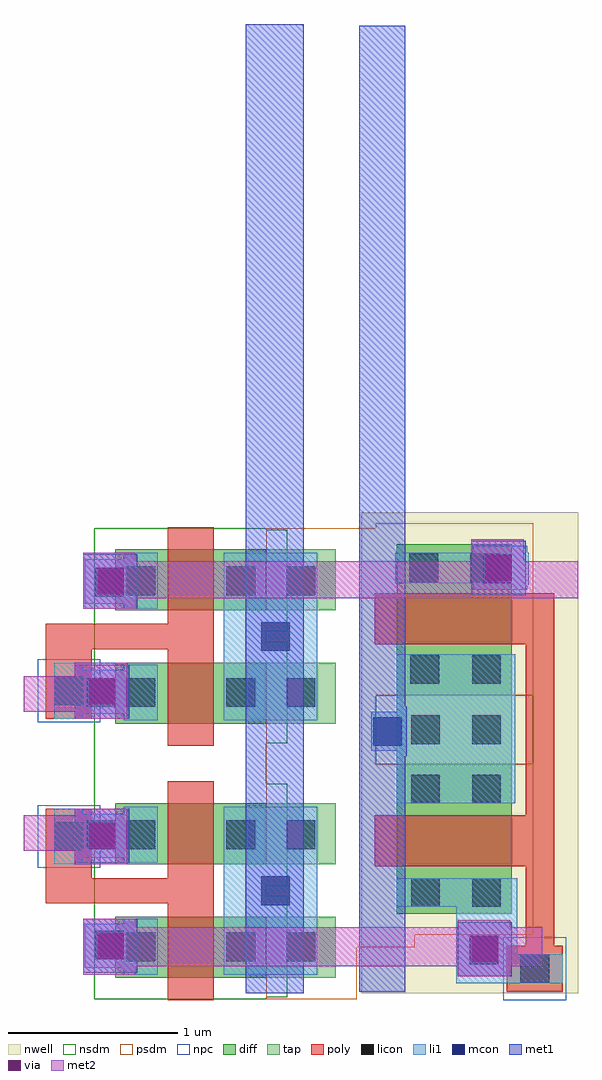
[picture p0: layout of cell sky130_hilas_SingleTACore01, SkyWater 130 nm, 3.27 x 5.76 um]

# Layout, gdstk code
from math import pi, radians
import gdstk
lib = gdstk.Library(unit=1e-6, precision=1e-09)
def R(c, l, rs):  # rectangles x0, y0, x1, y1
    for r in rs: c.add(gdstk.rectangle(r[:2], r[2:], *l))
nwell = (64, 20)
diff = (65, 20)
tap = (65, 44)
poly = (66, 20)
licon = (66, 44)
li1 = (67, 20)
mcon = (67, 44)
met1 = (68, 20)
via = (68, 44)
met2 = (69, 20)
nsdm = (93, 44)
psdm = (94, 20)
npc = (95, 20)

sky130_hilas_poly2li = lib.new_cell('sky130_hilas_poly2li')
R(sky130_hilas_poly2li, poly, [(-0.09,-0.14,0.18,0.19)])
R(sky130_hilas_poly2li, licon, [(-0.04,-0.06,0.13,0.11)])
R(sky130_hilas_poly2li, li1, [(-0.04,-0.14,0.13,0.19)])
R(sky130_hilas_poly2li, npc, [(-0.14,-0.16,0.23,0.21)])

sky130_hilas_pfetmirror0 = lib.new_cell('sky130_hilas_pFETmirror02')
R(sky130_hilas_pfetmirror0, nwell, [(-0.61,0.89,0.67,3.73)])
R(sky130_hilas_pfetmirror0, diff, [(-0.4,1.36,0.28,2.24), (-0.4,2.65,0.28,3.54)])
R(sky130_hilas_pfetmirror0, tap, [(-0.4,2.24,0.28,2.65)])
R(sky130_hilas_pfetmirror0, poly, [(0.36,1.12,0.53,1.64), (-0.53,1.64,0.53,1.94), (0.36,1.94,0.53,2.95), (-0.53,2.95,0.53,3.25)])
R(sky130_hilas_pfetmirror0, licon, [(-0.315,1.4,-0.145,1.57), (0.045,1.4,0.215,1.57), (-0.315,2.01,-0.145,2.18), (0.045,2.01,0.215,2.18), (-0.315,2.36,-0.145,2.53), (0.045,2.36,0.215,2.53), (-0.32,2.715,-0.15,2.885), (0.045,2.715,0.215,2.885), (-0.325,3.315,-0.155,3.485), (0.035,3.315,0.205,3.485)])
R(sky130_hilas_pfetmirror0, li1, [(-0.05,0.95,0.28,1.12), (-0.05,1.12,0.31,1.4), (-0.4,1.4,0.31,1.57), (-0.4,2.01,0.3,2.89), (-0.41,3.31,0.29,3.49)])
R(sky130_hilas_pfetmirror0, nsdm, [(-0.525,2.24,0.405,2.65)])
R(sky130_hilas_pfetmirror0, psdm, [(-0.525,1.235,0.405,2.24), (-0.525,2.65,0.405,3.665)])
sky130_hilas_pfetmirror0.add(gdstk.Reference(sky130_hilas_poly2li, (0.39,1.08), rotation=3*pi/2))

sky130_hilas_li2m2 = lib.new_cell('sky130_hilas_li2m2')
R(sky130_hilas_li2m2, li1, [(-0.13,-0.12,0.19,-0.09), (-0.13,-0.09,0.2,0.1), (-0.13,0.1,0.19,0.14)])
R(sky130_hilas_li2m2, mcon, [(-0.07,-0.08,0.1,0.09)])
R(sky130_hilas_li2m2, met1, [(-0.14,-0.15,0.18,0.17)])
R(sky130_hilas_li2m2, via, [(-0.055,-0.065,0.095,0.085)])
R(sky130_hilas_li2m2, met2, [(-0.14,-0.15,0.17,0.18)])

sky130_hilas_li2m1 = lib.new_cell('sky130_hilas_li2m1')
R(sky130_hilas_li2m1, li1, [(-0.08,-0.05,0.11,0.18)])
R(sky130_hilas_li2m1, mcon, [(-0.07,-0.02,0.1,0.15)])
R(sky130_hilas_li2m1, met1, [(-0.1,-0.08,0.13,0.21)])

sky130_hilas_nfet03 = lib.new_cell('sky130_hilas_nFET03')
R(sky130_hilas_nfet03, diff, [(-0.31,-0.06,0.58,0.29)])
R(sky130_hilas_nfet03, poly, [(0,-0.19,0.27,0.42)])
R(sky130_hilas_nfet03, licon, [(-0.245,0.03,-0.075,0.2), (0.345,0.03,0.515,0.2)])
R(sky130_hilas_nfet03, li1, [(-0.26,-0.05,-0.06,0.28), (0.33,-0.05,0.53,0.28)])
R(sky130_hilas_nfet03, nsdm, [(-0.435,-0.185,0.705,0.415)])

sky130_hilas_nmirror03 = lib.new_cell('sky130_hilas_nMirror03')
R(sky130_hilas_nmirror03, diff, [(-0.05,0.07,0.84,0.08), (-0.05,1.09,0.84,1.1)])
R(sky130_hilas_nmirror03, tap, [(0.84,0.07,1.25,0.43), (0.84,0.74,1.25,1.1)])
R(sky130_hilas_nmirror03, poly, [(0.26,-0.06,0.53,-0.05), (0.26,0.07,0.53,0.08), (-0.46,0.43,-0.19,0.51), (-0.46,0.51,0.26,0.56), (-0.46,0.56,0.53,0.66), (0.26,1.09,0.53,1.1), (0.26,1.22,0.53,1.23)])
R(sky130_hilas_nmirror03, licon, [(0.96,0.17,1.13,0.34), (0.96,0.83,1.13,1)])
R(sky130_hilas_nmirror03, li1, [(0.79,0.09,1.14,0.42), (0.59,0.42,1.14,0.75), (0.59,0.75,0.78,0.76), (0.79,0.75,1.14,1.08)])
R(sky130_hilas_nmirror03, met2, [(-0.59,0.14,-0.26,0.35)])
R(sky130_hilas_nmirror03, nsdm, [(-0.175,-0.055,0.84,0.205), (-0.175,0.555,0.84,0.615), (-0.175,0.965,0.84,1.225)])
R(sky130_hilas_nmirror03, psdm, [(0.84,-0.055,1.375,0.08), (0.715,0.08,1.375,1.09), (0.84,1.09,1.375,1.225)])
sky130_hilas_nmirror03.add(gdstk.Reference(sky130_hilas_li2m2, (-0.15,0.25)))
sky130_hilas_nmirror03.add(gdstk.Reference(sky130_hilas_li2m2, (-0.1,0.9)))
sky130_hilas_nmirror03.add(gdstk.Reference(sky130_hilas_li2m1, (0.88,0.52)))
sky130_hilas_nmirror03.add(gdstk.Reference(sky130_hilas_nfet03, (0.26,0.14)))
sky130_hilas_nmirror03.add(gdstk.Reference(sky130_hilas_nfet03, (0.26,0.8)))
sky130_hilas_nmirror03.add(gdstk.Reference(sky130_hilas_poly2li, (-0.37,0.24)))

sky130_hilas_singletacor = lib.new_cell('sky130_hilas_SingleTACore01')
R(sky130_hilas_singletacor, met1, [(-0.41,-0.22,-0.07,5.5), (0.26,-0.21,0.53,5.49)])
R(sky130_hilas_singletacor, met2, [(-1.37,-0.06,1.34,0.17), (-1.36,2.11,1.55,2.33)])
R(sky130_hilas_singletacor, nsdm, [(-1.305,1.025,-0.29,1.245)])
R(sky130_hilas_singletacor, psdm, [(0.245,0.05,0.585,0.125), (0.245,0.125,0.355,1.025), (-0.29,1.025,0.355,1.245), (0.245,1.245,0.355,2.525)])
sky130_hilas_singletacor.add(gdstk.Reference(sky130_hilas_pfetmirror0, (0.88,-1.11)))
sky130_hilas_singletacor.add(gdstk.Reference(sky130_hilas_nmirror03, (-1.13,1.3)))
sky130_hilas_singletacor.add(gdstk.Reference(sky130_hilas_nmirror03, (-1.13,0.97), x_reflection=True))
sky130_hilas_singletacor.add(gdstk.Reference(sky130_hilas_li2m2, (1.06,2.28)))
sky130_hilas_singletacor.add(gdstk.Reference(sky130_hilas_li2m2, (0.98,0.03)))
sky130_hilas_singletacor.add(gdstk.Reference(sky130_hilas_li2m1, (0.41,1.26)))

lib.write_gds('sky130_hilas_SingleTACore01.gds')
